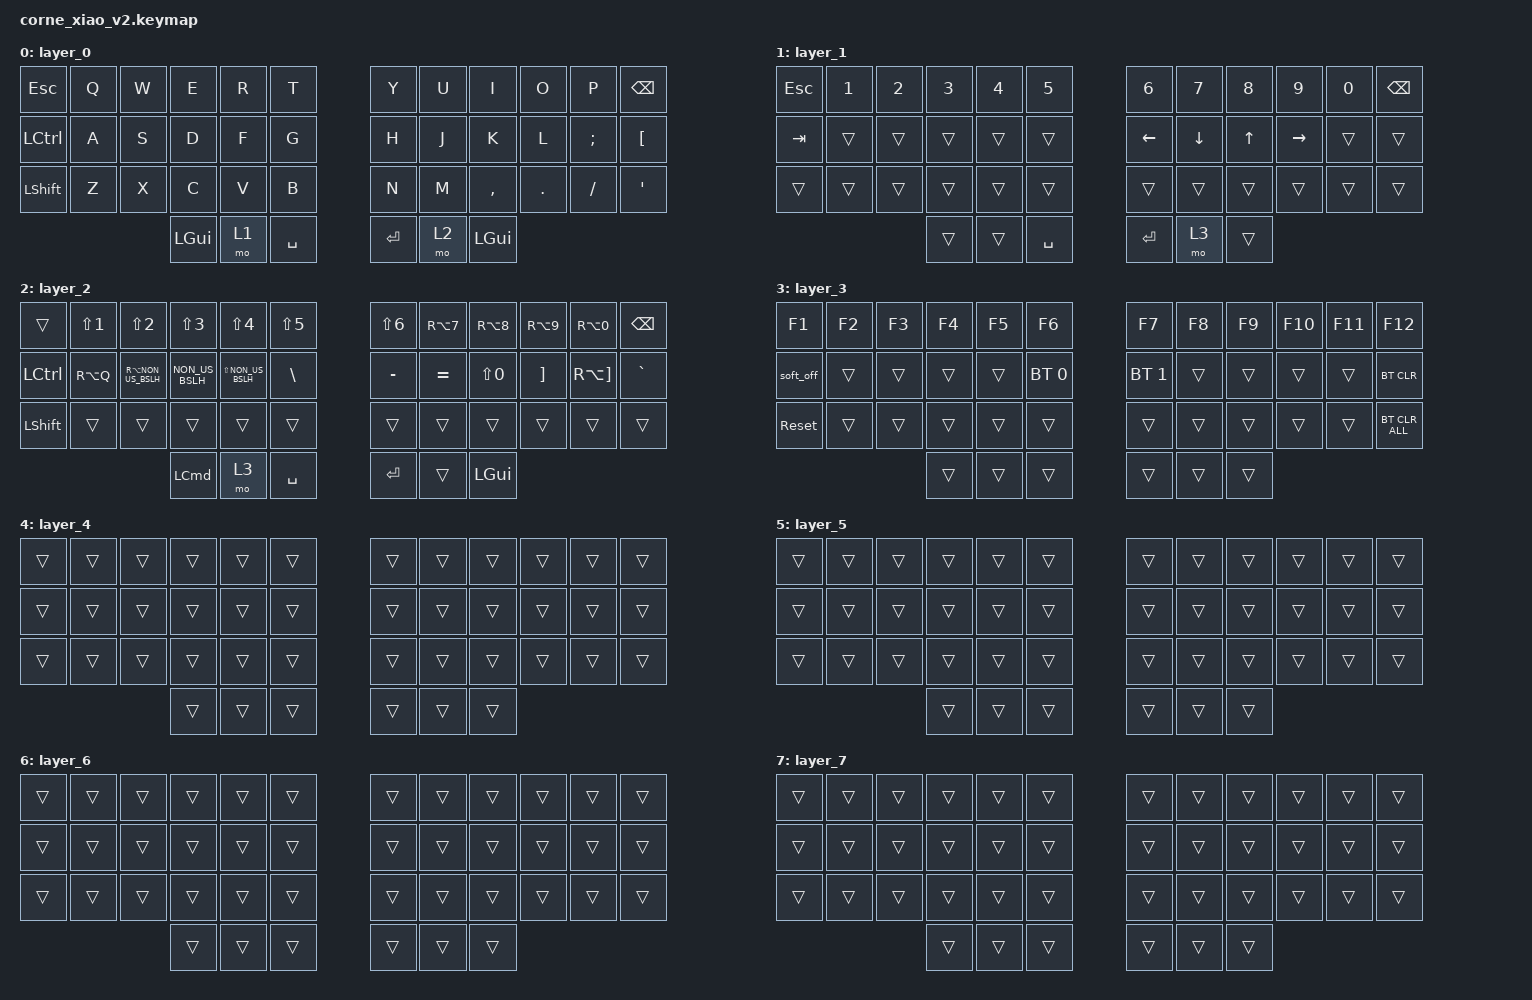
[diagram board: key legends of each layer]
#include <behaviors.dtsi>
#include <dt-bindings/zmk/bt.h>
#include <dt-bindings/zmk/keys.h>

/ {
    behaviors {
        umlaut: umlaut {
            compatible = "zmk,behavior-hold-tap";
            label = "UMLAUT";
            bindings = <&kp>, <&kp>;

            #binding-cells = <2>;
            hold-trigger-key-positions = <22>;
            tapping-term-ms = <150>;
        };
    };

    keymap {
        compatible = "zmk,keymap";

        layer_0 {
            bindings = <
&kp ESC    &kp Q  &kp W  &kp E     &kp R  &kp T        &kp Y    &kp U  &kp I      &kp O    &kp P      &kp BSPC
&kp LCTRL  &kp A  &kp S  &kp D     &kp F  &kp G        &kp H    &kp J  &kp K      &kp L    &kp SEMI   &kp LEFT_BRACKET
&kp LSHFT  &kp Z  &kp X  &kp C     &kp V  &kp B        &kp N    &kp M  &kp COMMA  &kp DOT  &kp SLASH  &kp SINGLE_QUOTE
                         &kp LGUI  &mo 1  &kp SPACE    &kp RET  &mo 2  &kp LGUI
            >;
        };

        layer_1 {
            bindings = <
&kp ESC  &kp N1  &kp N2  &kp N3  &kp N4  &kp N5       &kp N6    &kp N7    &kp N8  &kp N9     &kp N0  &kp BSPC
&kp TAB  &trans  &trans  &trans  &trans  &trans       &kp LEFT  &kp DOWN  &kp UP  &kp RIGHT  &trans  &trans
&trans   &trans  &trans  &trans  &trans  &trans       &trans    &trans    &trans  &trans     &trans  &trans
                         &trans  &trans  &kp SPACE    &kp RET   &mo 3     &trans
            >;
        };

        layer_2 {
            bindings = <
&trans          &kp LS(NUMBER_1)  &kp LS(NUMBER_2)     &kp LS(NUMBER_3)  &kp LS(NUMBER_4)     &kp LS(N5)       &kp LS(NUMBER_6)  &kp RA(N7)  &kp RA(N8)  &kp RA(N9)         &kp RA(N0)             &kp BSPC
&kp LCTRL       &kp RA(Q)         &kp RA(NON_US_BSLH)  &kp NON_US_BSLH   &kp LS(NON_US_BSLH)  &kp BACKSLASH    &kp MINUS         &kp EQUAL   &kp LS(N0)  &kp RIGHT_BRACKET  &kp RA(RIGHT_BRACKET)  &kp GRAVE
&kp LEFT_SHIFT  &trans            &trans               &trans            &trans               &trans           &trans            &trans      &trans      &trans             &trans                 &trans
                                                       &kp LCMD          &mo 3                &kp SPACE        &kp RET           &trans      &kp LGUI
            >;
        };

        layer_3 {
            bindings = <
&kp F1      &kp F2  &kp F3  &kp F4  &kp F5  &kp F6          &kp F7        &kp F8  &kp F9  &kp F10  &kp F11  &kp F12
&soft_off   &trans  &trans  &trans  &trans  &bt BT_SEL 0    &bt BT_SEL 1  &trans  &trans  &trans   &trans   &bt BT_CLR
&sys_reset  &trans  &trans  &trans  &trans  &trans          &trans        &trans  &trans  &trans   &trans   &bt BT_CLR_ALL
                            &trans  &trans  &trans          &trans        &trans  &trans
            >;
        };

        layer_4 {
            bindings = <
&trans  &trans  &trans  &trans  &trans  &trans    &trans  &trans  &trans  &trans  &trans  &trans
&trans  &trans  &trans  &trans  &trans  &trans    &trans  &trans  &trans  &trans  &trans  &trans
&trans  &trans  &trans  &trans  &trans  &trans    &trans  &trans  &trans  &trans  &trans  &trans
                        &trans  &trans  &trans    &trans  &trans  &trans
            >;
        };

        layer_5 {
            bindings = <
&trans  &trans  &trans  &trans  &trans  &trans    &trans  &trans  &trans  &trans  &trans  &trans
&trans  &trans  &trans  &trans  &trans  &trans    &trans  &trans  &trans  &trans  &trans  &trans
&trans  &trans  &trans  &trans  &trans  &trans    &trans  &trans  &trans  &trans  &trans  &trans
                        &trans  &trans  &trans    &trans  &trans  &trans
            >;
        };

        layer_6 {
            bindings = <
&trans  &trans  &trans  &trans  &trans  &trans    &trans  &trans  &trans  &trans  &trans  &trans
&trans  &trans  &trans  &trans  &trans  &trans    &trans  &trans  &trans  &trans  &trans  &trans
&trans  &trans  &trans  &trans  &trans  &trans    &trans  &trans  &trans  &trans  &trans  &trans
                        &trans  &trans  &trans    &trans  &trans  &trans
            >;
        };

        layer_7 {
            bindings = <
&trans  &trans  &trans  &trans  &trans  &trans    &trans  &trans  &trans  &trans  &trans  &trans
&trans  &trans  &trans  &trans  &trans  &trans    &trans  &trans  &trans  &trans  &trans  &trans
&trans  &trans  &trans  &trans  &trans  &trans    &trans  &trans  &trans  &trans  &trans  &trans
                        &trans  &trans  &trans    &trans  &trans  &trans
            >;
        };
    };
};

